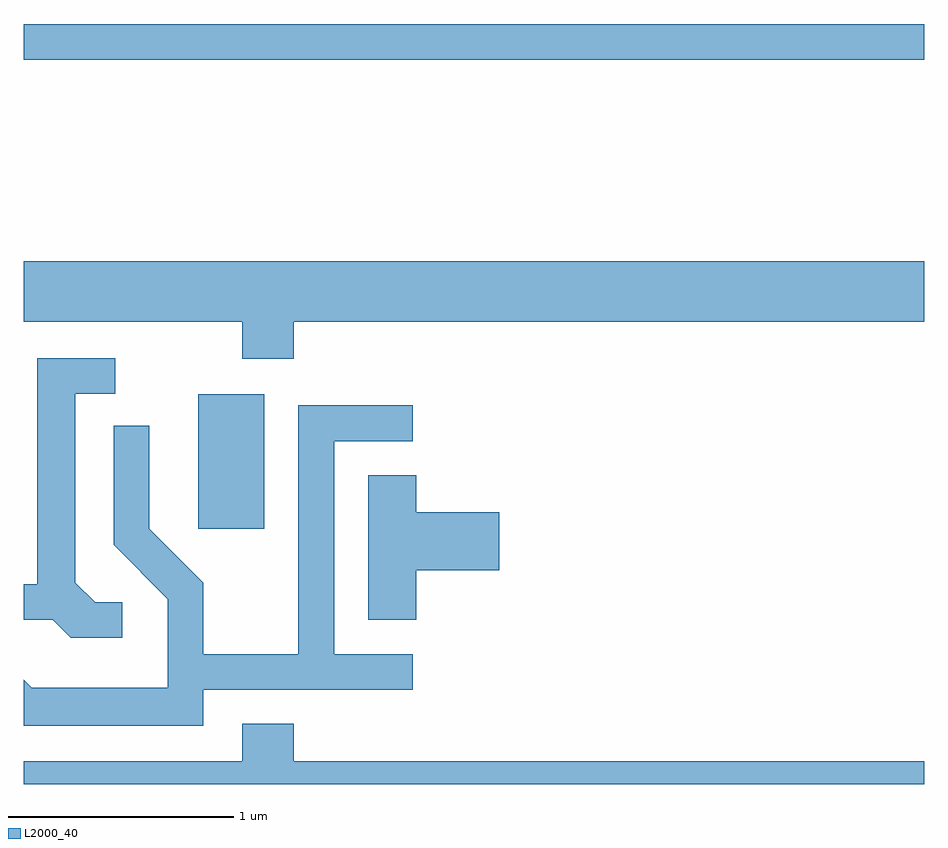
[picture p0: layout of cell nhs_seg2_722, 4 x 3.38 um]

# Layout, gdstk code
import gdstk
lib = gdstk.Library(unit=1e-6, precision=1e-09)
def R(c, l, rs):  # rectangles x0, y0, x1, y1
    for r in rs: c.add(gdstk.rectangle(r[:2], r[2:], *l))
def P(c, l, *ps):  # polygons
    for p in ps: c.add(gdstk.Polygon(p, *l))
L2000_40 = (2000, 40)

nhs_seg2_722 = lib.new_cell('nhs_seg2_722')
R(nhs_seg2_722, L2000_40, [(206.386,1062.936,206.679,1063.534), (205.611,1065.021,209.611,1065.179)])
P(nhs_seg2_722, L2000_40, [(206.809,1063.856),(209.611,1063.856),(209.611,1064.124),(205.611,1064.124),(205.611,1063.856),(206.581,1063.856),(206.581,1063.691),(206.809,1063.691)],
  [(206.048,1062.609),(205.927,1062.609),(205.839,1062.697),(205.839,1063.536),(206.018,1063.536),(206.018,1063.694),(205.671,1063.694),(205.671,1062.689),(205.611,1062.689),(205.611,1062.531),(205.739,1062.531),(205.819,1062.451),(206.048,1062.451)],
  [(206.409,1062.221),(207.338,1062.221),(207.338,1062.379),(206.989,1062.379),(206.989,1063.326),(207.338,1063.326),(207.338,1063.484),(206.831,1063.484),(206.831,1062.379),(206.409,1062.379),(206.409,1062.697),(206.169,1062.937),(206.169,1063.393),(206.011,1063.393),(206.011,1062.864),(206.251,1062.624),(206.251,1062.229),(205.647,1062.229),(205.611,1062.265),(205.611,1062.061),(206.409,1062.061)],
  [(207.354,1062.751),(207.724,1062.751),(207.724,1063.009),(207.354,1063.009),(207.354,1063.174),(207.141,1063.174),(207.141,1062.531),(207.354,1062.531)],
  [(209.611,1061.904),(206.809,1061.904),(206.809,1062.069),(206.581,1062.069),(206.581,1061.904),(205.611,1061.904),(205.611,1061.802),(209.611,1061.802)])

lib.write_gds('nhs_seg2_722.gds')
